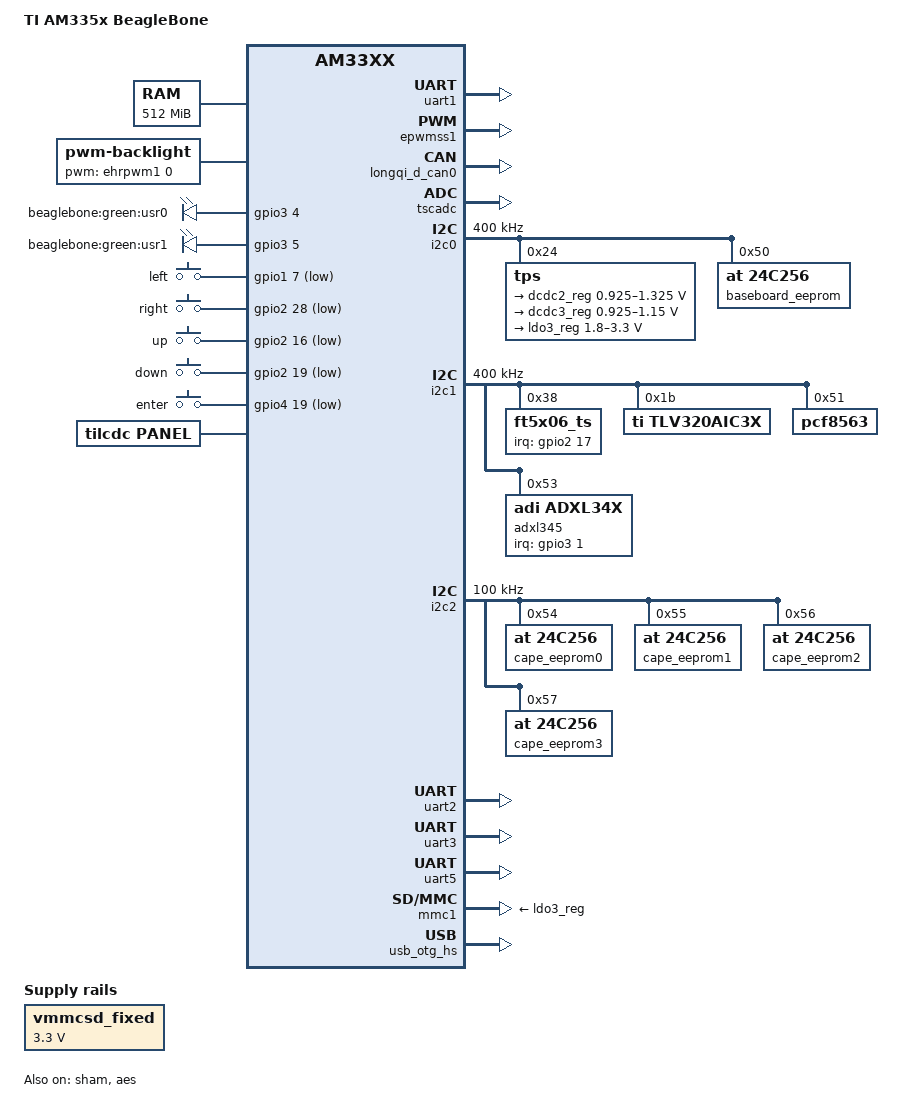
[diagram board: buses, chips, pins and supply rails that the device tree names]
/*
 * Copyright (C) 2012 Texas Instruments Incorporated - http://www.ti.com/
 *
 * This program is free software; you can redistribute it and/or modify
 * it under the terms of the GNU General Public License version 2 as
 * published by the Free Software Foundation.
 */

/include/ "am33xx.dtsi"

/ {
	model = "TI AM335x BeagleBone";
	compatible = "ti,am335x-bone", "ti,am33xx";

	cpus {
		cpu@0 {
			cpu0-supply = <&dcdc2_reg>;
		};
	};

	memory {
		device_type = "memory";
		reg = <0x80000000 0x20000000>; /* 512 MB */
	};

	am33xx_pinmux: pinmux@44e10800 {
		pinctrl-names = "default";

		userled_pins: pinmux_userled_pins {
			pinctrl-single,pins = <
				0x98 0x7	/* gpmc_wen.gpio2_4, OUTPUT | MODE7 */
				0x9c 0x7	/* gpmc_ben0_cle.gpio2_5, OUTPUT | MODE7 */
			>;
		};
		i2c0_pins: pinmux_i2c0_pins {
			pinctrl-single,pins = <
				0x188 0x70      /* i2c0_sda, SLEWCTRL_SLOW | INPUT_PULLUP | MODE0 */
				0x18c 0x70      /* i2c0_scl, SLEWCTRL_SLOW | INPUT_PULLUP | MODE0 */
			>;
		};
		i2c1_pins: pinmux_i2c1_pins {
			pinctrl-single,pins = <
				0x158 0x72      /* spi0_d1.i2c1_sda, SLEWCTRL_SLOW | INPUT_PULLUP | MODE2 */
				0x15c 0x72      /* spi0_cs0.i2c1_scl, SLEWCTRL_SLOW | INPUT_PULLUP | MODE2 */
			>;
		};
		//i2c2_pins: pinmux_i2c2_pins {
		//	pinctrl-single,pins = <
		//		0x178 0x73 	/* uart1_ctsn.i2c2_sda, SLEWCTRL_SLOW | INPUT_PULLUP | MODE3 */
		//		0x17c 0x73	/* uart1_rtsn.i2c2_scl, SLEWCTRL_SLOW | INPUT_PULLUP | MODE3 */
		//	>;
		//};

		chipsee_lcd_pins: pinmux_chipsee_lcd_pins {
			pinctrl-single,pins = <
				0xa0 0x00       /* lcd_data0.lcd_data0, OMAP_MUX_MODE0 | AM33XX_PIN_OUTPUT */
				0xa4 0x00       /* lcd_data1.lcd_data1, OMAP_MUX_MODE0 | AM33XX_PIN_OUTPUT */
				0xa8 0x00       /* lcd_data2.lcd_data2, OMAP_MUX_MODE0 | AM33XX_PIN_OUTPUT */
				0xac 0x00       /* lcd_data3.lcd_data3, OMAP_MUX_MODE0 | AM33XX_PIN_OUTPUT */
				0xb0 0x00       /* lcd_data4.lcd_data4, OMAP_MUX_MODE0 | AM33XX_PIN_OUTPUT */
				0xb4 0x00       /* lcd_data5.lcd_data5, OMAP_MUX_MODE0 | AM33XX_PIN_OUTPUT */
				0xb8 0x00       /* lcd_data6.lcd_data6, OMAP_MUX_MODE0 | AM33XX_PIN_OUTPUT */
				0xbc 0x00       /* lcd_data7.lcd_data7, OMAP_MUX_MODE0 | AM33XX_PIN_OUTPUT */
				0xc0 0x00       /* lcd_data8.lcd_data8, OMAP_MUX_MODE0 | AM33XX_PIN_OUTPUT */
				0xc4 0x00       /* lcd_data9.lcd_data9, OMAP_MUX_MODE0 | AM33XX_PIN_OUTPUT */
				0xc8 0x00       /* lcd_data10.lcd_data10, OMAP_MUX_MODE0 | AM33XX_PIN_OUTPUT */
				0xcc 0x00       /* lcd_data11.lcd_data11, OMAP_MUX_MODE0 | AM33XX_PIN_OUTPUT */
				0xd0 0x00       /* lcd_data12.lcd_data12, OMAP_MUX_MODE0 | AM33XX_PIN_OUTPUT */
				0xd4 0x00       /* lcd_data13.lcd_data13, OMAP_MUX_MODE0 | AM33XX_PIN_OUTPUT */
				0xd8 0x00       /* lcd_data14.lcd_data14, OMAP_MUX_MODE0 | AM33XX_PIN_OUTPUT */
				0xdc 0x00       /* lcd_data15.lcd_data15, OMAP_MUX_MODE0 | AM33XX_PIN_OUTPUT */
				0x3c 0x11       /* gpmc_ad15.lcd_data16, OMAP_MUX_MODE1 | AM33XX_PIN_OUTPUT */
				0x38 0x11       /* gpmc_ad14.lcd_data17, OMAP_MUX_MODE1 | AM33XX_PIN_OUTPUT */
				0x34 0x11       /* gpmc_ad13.lcd_data18, OMAP_MUX_MODE1 | AM33XX_PIN_OUTPUT */
				0x30 0x11       /* gpmc_ad12.lcd_data19, OMAP_MUX_MODE1 | AM33XX_PIN_OUTPUT */
				0x2c 0x11       /* gpmc_ad11.lcd_data20, OMAP_MUX_MODE1 | AM33XX_PIN_OUTPUT */
				0x28 0x11       /* gpmc_ad10.lcd_data21, OMAP_MUX_MODE1 | AM33XX_PIN_OUTPUT */
				0x24 0x11       /* gpmc_ad9.lcd_data22, OMAP_MUX_MODE1 | AM33XX_PIN_OUTPUT */
				0x20 0x11       /* gpmc_ad8.lcd_data23, OMAP_MUX_MODE1 | AM33XX_PIN_OUTPUT */
				0xe0 0x00       /* lcd_vsync.lcd_vsync, OMAP_MUX_MODE0 | AM33XX_PIN_OUTPUT */
				0xe4 0x00       /* lcd_hsync.lcd_hsync, OMAP_MUX_MODE0 | AM33XX_PIN_OUTPUT */
				0xe8 0x00       /* lcd_pclk.lcd_pclk, OMAP_MUX_MODE0 | AM33XX_PIN_OUTPUT */
				0xec 0x00       /* lcd_ac_bias_en.lcd_ac_bias_en, OMAP_MUX_MODE0 | AM33XX_PIN_OUTPUT */
			>;
		};

		pwm_bl_pins: pinmux_pwm_bl_pins {
			pinctrl-single,pins = <
				0x48 0x06       /* gpmc_a2.ehrpwm1a, OMAP_MUX_MODE6 | AM33XX_PIN_OUTPUT */
			>;
		};

		chipsee_gpio_pins: pinmux_chipsee_gpio_pins {
			pinctrl-single,pins = <
				0x08c 0x27      /* adxl345 interrupt, gpio2_1, INPUT | MODE7 */
				0x044 0x27      /* CAP_TSC gpmc_a1.gpio1_17, INPUT | MODE7 */
				0x094 0x07      /* BUZZER gpmc_oen_ren.gpio2_3 OUTPUT | MODE7 */
				0x090 0x7	/* gpmc_advn_ale.gpio2_2, OUTPUT | MODE7 */
			>;
		};
		chipsee_gpio_keys_pins: pinmux_chipsee_gpio_keys_pins {
			pinctrl-single,pins = <
				0x164 0x2f      /* KEY_LEFT ecap0_in_pwm0_out.gpio0_7, INPUT | PULLDIS | MODE7 */
				0x078 0x2f      /* KEY_RIGHT gpmc_ben1.gpio1_28, INPUT | PULLDIS | MODE7 */
				0x040 0x2f      /* KEY_UP gpmc_a0.gpio1_16, INPUT | PULLDIS | MODE7 */
				0x04c 0x2f      /* KEY_DOWN gpmc_a3.gpio1_19, INPUT | PULLDIS | MODE7 */
				0x1a4 0x2f      /* KEY_ENTER mcasp0_fxr.gpio3_19, INPUT | PULLDIS | MODE7 */

			>;
		};

		chipsee_uart1_pins: pinmux_chipsee_uart1_pins {
			pinctrl-single,pins = <
				0x180 0x20 /* uart1_rxd.uart1_rxd  INPUT | MODE0 */
				0x184 0x00 /* uart1_txd.uart1_txd  OUTPUT | MODE0 */
			>;
		};

		chipsee_uart2_pins: pinmux_chipsee_uart2_pins {
			pinctrl-single,pins = <
				0x150 0x21      /* spi0_sclk.uart2_rxd INPUT | MODE1 */
				0x154 0x01      /* spi0_d0.uart2_txd OUTPUT | MODE1 */
			>;
		};

		chipsee_uart4_pins: pinmux_chipsee_uart4_pins {
			pinctrl-single,pins = <
				0x070 0x26      /* gpmc_wait0.uart4_rxd INPUT | MODE6 */
				0x074 0x06      /* gpmc_wpn.uart4_txd OUTPUT | MODE6 */
			>;
		};

		longqi_dcan0_pins: pinmux_longqi_dcan0_pins {
			pinctrl-single,pins = <
				0x178 0x02      /* uart1_ctsn.d_can0_tx OUTPUT | MODE2 */
				0x17c 0x32      /* uart1_rtsn.d_can0_rx INPUT_PULLUP | MODE2 */
			>;
		};
		chipsee_audio_pins: pinmux_chipsee_audio_pins {
			pinctrl-single,pins = <
				0x190 0x20      /* mcasp0_aclkx.mcasp0_aclkx, INPUT | MODE0 */
				0x194 0x20      /* mcasp0_fsx.mcasp0_fsx, INPUT | MODE0 */
				0x198 0x20      /* mcasp0_axr0.mcasp0_axr0, INPUT | MODE0 */
				0x19c 0x22      /* mcasp0_ahclkr.mcasp0_axr2, INPUT | MODE2 */
			>;
		};

	};

	ocp: ocp {

		uart1: serial@44e09000 {
			status = "okay";
		};

		epwmss1: epwmss@48302000 {
			status = "okay";

			ehrpwm1: ehrpwm@48302200 {
				status = "okay";
				pinctrl-names = "default";
				pinctrl-0 = <&pwm_bl_pins>;
			};
		};

		backlight {
			compatible      = "pwm-backlight";
			pwms = <&ehrpwm1 0 500000 0>;
			brightness-levels = <0 1 2 3 4 5 6 7 8 9 10 11 12 13 14 15 16 17 18 19 20 21 22 23 24 25 26 27 28 29 30 31 32 33 34 35 36 37 38 39 40 41 42 43 44 45 46 47 48 49 50 51 52 53 54 55 56 57 58 59 60 61 62 63 64 65 66 67 68 69 70 71 72 73 74 75 76 77 78 79 80 81 82 83 84 85 86 87 88 89 90 91 92 93 94 95 96 97 98 99 100>;
			default-brightness-level = <101>; /* index to the array above */
		};

		gpio-leds {
			compatible = "gpio-leds";
			pinctrl-names = "default";
			pinctrl-0 = <&userled_pins>;

			led0 {
				label = "beaglebone:green:usr0";
				gpios = <&gpio3 4 0>;
				linux,default-trigger = "heartbeat";
				default-state = "off";
			};

			led1 {
				label = "beaglebone:green:usr1";
				gpios = <&gpio3 5 0>;
				linux,default-trigger = "cpu0";
				default-state = "off";
			};
		};

		gpio_keys {
			compatible = "gpio-keys";
			pinctrl-names = "default";
			pinctrl-0 = <&chipsee_gpio_keys_pins>;

			#address-cells = <1>;
			#size-cells = <0>;

			button@1 {
				debounce_interval = <50>;
				linux,code = <105>;
				label = "left";
				gpios = <&gpio1 7 0x1>;
				gpio-key,wakeup;
				autorepeat;
			};
			button@2 {
				debounce_interval = <50>;
				linux,code = <106>;
				label = "right";
				gpios = <&gpio2 28 0x1>;
				gpio-key,wakeup;
				autorepeat;
			};
			button@3 {
				debounce_interval = <50>;
				linux,code = <103>;
				label = "up";
				gpios = <&gpio2 16 0x1>;
				gpio-key,wakeup;
				autorepeat;
			};
			button@4 {
				debounce_interval = <50>;
				linux,code = <108>;
				label = "down";
				gpios = <&gpio2 19 0x1>;
				gpio-key,wakeup;
				autorepeat;
			};
			button@5 {
				debounce_interval = <50>;
				linux,code = <28>;
				label = "enter";
				gpios = <&gpio4 19 0x1>;
				gpio-key,wakeup;
			};
		};
		longqi_d_can0 {
			compatible = "bone-pinmux-helper";
			pinctrl-names = "default";
			pinctrl-0 = <&longqi_dcan0_pins>;
			status = "okay";
		};
		gpio_setups {
			compatible = "gpio-of-helper";
			status = "okay";
			pinctrl-names = "default";
			pinctrl-0 = <&chipsee_gpio_pins>;

			/* declare your gpios */
			adxl345_int {
				gpio-name = "adxl345_int";
				gpio = <&gpio3 1 0x00>;
				input;
			};
			
			cap_touch_int {
				gpio-name = "cap_touch_int";
				gpio = <&gpio2 17 0x00>;
				input;
			};

			buzzer {
				gpio-name = "buzzer";
				gpio = <&gpio3 3 0x00>;
				output;
				init-low;
			};
			
			audio_en {
				gpio-name = "audio_enable";
				gpio = <&gpio3 2 0x00>;
				output;
				init-high;
			};
		};
/*
		rtc@44e3e000 {
			ti,system-power-controller;
			status = "okay";
		};
*/
		panel {
			compatible = "tilcdc,panel";
			pinctrl-names = "default";
			pinctrl-0 = <&chipsee_lcd_pins>;
			panel-info {
				ac-bias	   = <255>;
				ac-bias-intrpt    = <0>;
				dma-burst-sz      = <16>;
				bpp	       = <32>;
				fdd	       = <0x80>;
				tft-alt-mode      = <0>;
				stn-565-mode      = <0>;
				mono-8bit-mode    = <0>;
				sync-edge	 = <0>;
				sync-ctrl	 = <0>;
				raster-order      = <1>;
				fifo-th	   = <0>;
			};
			display-timings {
				native-mode = <&timing0>;
				timing0: 1024x600 {
					hactive	 = <1024>;
					vactive	 = <600>;
					hback-porch     = <45>;
					hfront-porch    = <1>;
					hsync-len       = <30>;
					vback-porch     = <22>;
					vfront-porch    = <12>;
					vsync-len       = <2>;
					clock-frequency = <36000000>;
					hsync-active    = <1>;
					vsync-active    = <1>;
				};
			};
		};

		fb {
			compatible = "ti,am33xx-tilcdc";
			reg = <0x4830e000 0x1000>;
			interrupt-parent = <&intc>;
			interrupts = <36>;
			ti,hwmods = "lcdc";
			ti,allow-non-reduced-blanking-modes;
		};

		tscadc {
			compatible = "ti,ti-tscadc";
			reg = <0x44e0d000 0x1000>;

			interrupt-parent = <&intc>;
			interrupts = <16>;
			ti,hwmods = "adc_tsc";
			status = "okay";

			tsc {
				ti,wires = <4>;
				ti,x-plate-resistance = <200>;
				ti,steps-to-config= <5>;
				ti,x-min= <0xCB>;
				ti,x-max= <0xFFF>;
				ti,x-inverted= <0>;
				ti,y-min= <0xC8>;
				ti,y-max= <0xFFF>;
				ti,y-inverted= <0>;
			};

			adc {
				ti,adc-channels = <4 5 6 7>;
			};
		};

		sound {
			compatible = "ti,da830-evm-audio";
			ti,model = "DA830 EVM";
			ti,audio-codec = <&tlv320aic3x>;
			ti,mcasp-controller = <&mcasp0>;
			ti,codec-clock-rate = <12000000>;
			ti,audio-routing =
				"Headphone Jack",       "HPLOUT",
				"Headphone Jack",       "HPROUT",
				"MIC3L",		"Mic Bias 2V",
				"MIC3R",		"Mic Bias 2V",
				"Mic Bias 2V",	  "Mic Jack";
		};

	};

	bone_capemgr {
		compatible = "ti,bone-capemgr";
		status = "okay";

		eeprom = <&baseboard_eeprom>;

		baseboardmaps {
			baseboard_beaglebone: board@0 {
				board-name = "A335BONE";
				compatible-name = "ti,beaglebone";
			};

			baseboard_beaglebone_black: board@1 {
				board-name = "A335BNLT";
				compatible-name = "ti,beaglebone-black";
			};
		};

		slots {
			slot@0 {
				eeprom = <&cape_eeprom0>;
			};

			slot@1 {
				eeprom = <&cape_eeprom1>;
			};

			slot@2 {
				eeprom = <&cape_eeprom2>;
			};

			slot@3 {
				eeprom = <&cape_eeprom3>;
			};

			/* geiger cape version A0 without an EEPROM */
			slot@5 {
				ti,cape-override;
				compatible = "kernel-command-line", "runtime";
				board-name = "Bone-Geiger";
				version = "00A0";
				manufacturer = "Geiger Inc.";
				part-number = "BB-BONE-GEIGER";
			};

			/* Nixie cape version A0 without an EEPROM */
			slot@7 {
				ti,cape-override;
				compatible = "kernel-command-line", "runtime";
				board-name = "Bone-Nixie";
				version = "00A0";
				manufacturer = "Ranostay Industries";
				part-number = "BB-BONE-NIXIE";
			};

			/* adafruit 1.8" TFT prototype cape */
			slot@8 {
				ti,cape-override;
				compatible = "kernel-command-line", "runtime";
				board-name = "Bone-TFT";
				version = "00A0";
				manufacturer = "Adafruit";
				part-number = "BB-BONE-TFT-01";
			};

			/* adafruit RTC DS1307 prototype cape */
			slot@9 {
				ti,cape-override;
				compatible = "kernel-command-line", "runtime";
				board-name = "Bone-RTC";
				version = "00A0";
				manufacturer = "Adafruit";
				part-number = "BB-BONE-RTC-01";
			};

			slot@10 {
				ti,cape-override;
				compatible = "kernel-command-line", "runtime";
				board-name = "Bone-Hexy";
				version = "00A0";
				manufacturer = "Koen Kooi";
				part-number = "BB-BONE-HEXY-01";
			};
			/* MRF24J40 Cape Override */
			slot@11 {
				ti,cape-override;
				compatible = "kernel-command-line", "runtime";
				board-name = "Bone-MRF24J40";
				version = "00A0";
				manufacturer = "Signal 11 Software";
				part-number = "BB-BONE-MRF24J40";
			};

			/* RS232 cape */
			slot@12 {
				ti,cape-override;
				compatible = "kernel-command-line", "runtime";
				board-name = "BB-BONE-RS232";
				version = "00A0";
				manufacturer = "Adafruit";
				part-number = "BB-BONE-RS232-01";
			};

			/* Beaglebone black has it soldered on */
			 slot@100 {
			 	ti,cape-override;
				priority = <1>;
			 	compatible = "ti,beaglebone-black";
			 	board-name = "Bone-LT-eMMC-2G";
			 	version = "00A0";
			 	manufacturer = "Texas Instruments";
			 	part-number = "BB-BONE-EMMC-2G";
			 };

			/* Beaglebone black has it soldered on */
			slot@101 {
				ti,cape-override;
				priority = <1>;
				compatible = "ti,beaglebone-black";
				board-name = "Bone-Black-HDMI";
				version = "00A0";
				manufacturer = "Texas Instruments";
				part-number = "BB-BONELT-HDMI";
			};

			/* Beaglebone black has it soldered on (but no audio) */
			slot@102 {
				ti,cape-override;
				priority = <2>;
				compatible = "ti,beaglebone-black";
				board-name = "Bone-Black-HDMIN";
				version = "00A0";
				manufacturer = "Texas Instruments";
				part-number = "BB-BONELT-HDMIN";
			};

		};
									  
		/* mapping between board names and dtb objects */
		capemaps {
			/* DVI cape */
			cape@0 {
				/* board-name = "BeagleBone DVI-D CAPE"; */
				part-number = "BB-BONE-DVID-01";
				version@00A0 {
					version = "00A0";
					dtbo = "cape-bone-dvi-00A0.dtbo";
				};
				version@00A1 {
					version = "00A1", "01";
					dtbo = "cape-bone-dvi-00A1.dtbo";
				};
				version@00A2 {
					version = "00A2", "A2";
					dtbo = "cape-bone-dvi-00A2.dtbo";
				};
				version@00A3 {
					version = "00A3";
					dtbo = "cape-bone-dvi-00A2.dtbo";
				};
			};

			/* beaglebone black emmc on board */
			cape@1 {
				/* board-name = "BeagleBone 2G eMMC1 CAPE"; */
				part-number = "BB-BONE-EMMC-2G";
				version@00A0 {
					version = "00A0";
					dtbo = "cape-bone-2g-emmc1.dtbo";
				};
			};

			/* geiger cape */
			cape@2 {
				part-number = "BB-BONE-GEIGER";
				version@00A0 {
					version = "00A0";
					dtbo = "cape-bone-geiger-00A0.dtbo";
				};
			};

			/* LCD3 cape */
			cape@3 {
				part-number = "BB-BONE-LCD3-01";
				version@00A0 {
					version = "00A0";
					dtbo = "cape-bone-lcd3-00A0.dtbo";
				};
				version@00A2 {
					version = "00A2";
					dtbo = "cape-bone-lcd3-00A2.dtbo";
				};
			};

			/* Weather cape */
			cape@4 {
				part-number = "BB-BONE-WTHR-01";
				version@00A0 {
					version = "00A0";
					dtbo = "cape-bone-weather-00A0.dtbo";
				};
			};

			/* beaglebone black hdmi on board */
			cape@5 {
				part-number = "BB-BONELT-HDMI";
				version@00A0 {
					version = "00A0";
					dtbo = "cape-boneblack-hdmi-00A0.dtbo";
				};
			};

			/* nixie cape */
			cape@6 {
				part-number = "BB-BONE-NIXIE";
				version@00A0 {
					version = "00A0";
					dtbo = "cape-bone-nixie-00A0.dtbo";
				};
			};
			cape@7 {
				part-number = "BB-BONE-TFT-01";
				version@00A0 {
					version = "00A0";
					dtbo = "cape-bone-adafruit-lcd-00A0.dtbo";
				};
			};

			cape@8 {
				part-number = "BB-BONE-RTC-01";
				version@00A0 {
					version = "00A0";
					dtbo = "cape-bone-adafruit-rtc-00A0.dtbo";
				};
			};

			cape@9 {
				part-number = "BB-BONE-HEXY-01";
				version@00A0 {
					version = "00A0";
					dtbo = "cape-bone-hexy-00A0.dtbo";
				};
			};
			/* mrf24j40 cape */
			cape@10 {
				part-number = "BB-BONE-MRF24J40";
				version@00A0 {
					version = "00A0";
					dtbo = "cape-bone-mrf24j40-00A0.dtbo";
				};
			};
			/* expansion test */
			cape@11 {
				part-number = "BB-BONE-EXPTEST";
				version@00A0 {
					version = "00A0";
					dtbo = "cape-bone-exptest-00A0.dtbo";
				};
			};
 			cape@12 {
				part-number = "BB-BONE-RS232-01";
				version@00A0 {
					version = "00A0";
					dtbo = "BB-BONE-RS232-00A0.dtbo";
				};
			};

			/* beaglebone black hdmi on board (No audio) */
			cape@13 {
				part-number = "BB-BONELT-HDMIN";
				version@00A0 {
					version = "00A0";
					dtbo = "cape-boneblack-hdmin-00A0.dtbo";
				};
			};
			
			cape@16 {
				part-number = "BB-BONE-LCD9";
				version@00A0 {
					version = "00A0";
					dtbo = "BB-BONE-LCD9-00A0.dtbo";
				};

			};

		};
	};

	vmmcsd_fixed: fixedregulator@0 {
		compatible = "regulator-fixed";
		regulator-name = "vmmcsd_fixed";
		regulator-min-microvolt = <3300000>;
		regulator-max-microvolt = <3300000>;
	};
};

&i2c0 {
	status = "okay";
	clock-frequency = <400000>;
	pinctrl-names = "default";
	pinctrl-0 = <&i2c0_pins>;

	tps: tps@24 {
		reg = <0x24>;
	};

	baseboard_eeprom: baseboard_eeprom@50 {
		compatible = "at,24c256";
		reg = <0x50>;
	};
};
&i2c1 {
	status = "okay";
	clock-frequency = <400000>;
	pinctrl-names = "default";
	pinctrl-0 = <&i2c1_pins>;

	ft5x06_ts: ft5x06_ts@38 {
		compatible = "ft5x06_ts";
		reg = <0x38>;
		interrupt-parent = <&gpio2>;
		interrupts = <17>;
	};

	tlv320aic3x: tlv320aic3x@1b {
		compatible = "ti,tlv320aic3x";
		reg = <0x1b>;
		status = "okay";
	};

	pcf8563: pcf8563@51 {
		compatible = "pcf8563";
		reg = <0x51>;
		status = "okay";
	};
	
	adxl345:adxl345@53 {
		compatible = "adi,adxl34x";//this is the driver name 
		reg = <0x53>;	//The slave address of the device, this is same with the i2c address , maybe it just means the i2c address
		interrupt-parent = <&gpio3>; // this is the gpio pin which the device's interrupt pin connected
		interrupts = <1>;		
               };
};

&i2c2 {
	status = "okay";
	pinctrl-names = "default";
//	pinctrl-0 = <&i2c2_pins>;// disabling the pinmux and keeping the i2c2 just in order to 
				 // use the "slots" to enable the capes from the user space 

	clock-frequency = <100000>;

	cape_eeprom0: cape_eeprom0@54 {
		compatible = "at,24c256";
		reg = <0x54>;
	};

	cape_eeprom1: cape_eeprom1@55 {
		compatible = "at,24c256";
		reg = <0x55>;
	};

	cape_eeprom2: cape_eeprom2@56 {
		compatible = "at,24c256";
		reg = <0x56>;
	};

	cape_eeprom3: cape_eeprom3@57 {
		compatible = "at,24c256";
		reg = <0x57>;
	};
};

/include/ "tps65217.dtsi"

&tps {
	ti,pmic-shutdown-controller;

	interrupt-parent = <&intc>;
	interrupts = <7>;/* NNMI */

	regulators {
		dcdc1_reg: regulator@0 {
			regulator-always-on;
		};

		dcdc2_reg: regulator@1 {
			/* VDD_MPU voltage limits 0.95V - 1.26V with +/-4% tolerance */
			regulator-name = "vdd_mpu";
			regulator-min-microvolt = <925000>;
			regulator-max-microvolt = <1325000>;
			regulator-boot-on;
			regulator-always-on;
		};

		dcdc3_reg: regulator@2 {
			/* VDD_CORE voltage limits 0.95V - 1.1V with +/-4% tolerance */
			regulator-name = "vdd_core";
			regulator-min-microvolt = <925000>;
			regulator-max-microvolt = <1150000>;
			regulator-boot-on;
			regulator-always-on;
		};

		ldo1_reg: regulator@3 {
			regulator-always-on;
		};

		ldo2_reg: regulator@4 {
			regulator-always-on;
		};

		ldo3_reg: regulator@5 {
			regulator-min-microvolt = <1800000>;
			regulator-max-microvolt = <3300000>;
			regulator-always-on;
		};

		ldo4_reg: regulator@6 {
			regulator-always-on;
		};
	};
};

&uart2 {
	status = "okay";
	pinctrl-names = "default";
	pinctrl-0 = <&chipsee_uart1_pins>;
};

&uart3 {
	status = "okay";
	pinctrl-names = "default";
	pinctrl-0 = <&chipsee_uart2_pins>;
};

&uart5 {
	status = "okay";
	pinctrl-names = "default";
	pinctrl-0 = <&chipsee_uart4_pins>;
};

&cpsw_emac0 {
	phy_id = <&davinci_mdio>, <0>;
};

&cpsw_emac1 {
	phy_id = <&davinci_mdio>, <1>;
};

&mmc1 {
	status = "okay";
	vmmc-supply = <&ldo3_reg>;
	ti,vcc-aux-disable-is-sleep;
};

&edma {
	ti,edma-xbar-event-map = <32 12>,/* gpevt2 -> 12 */
				 <30 20>;/* xdma_event_intr2 -> 20 */
};

&sham {
	status = "okay";
};

&aes {
	status = "okay";
};

&usb_otg_hs {
	interface_type = <1>;
	power = <250>;
	status = "okay";
};
